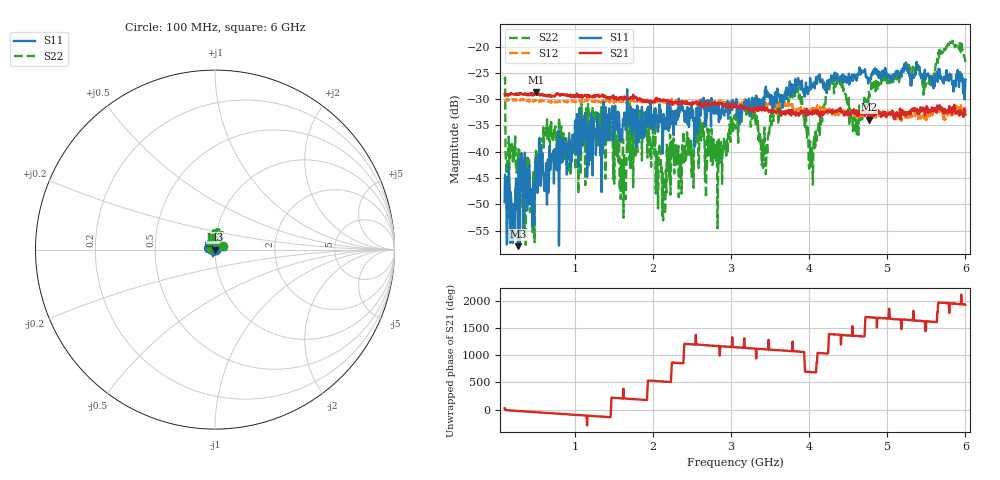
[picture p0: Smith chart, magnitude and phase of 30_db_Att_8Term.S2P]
!Created with skrf (http://scikit-rf.org).
# MHz S RI R 50.0
!freq ReS11 ImS11 ReS21 ImS21 ReS12 ImS12 ReS22 ImS22
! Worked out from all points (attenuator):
!   1001 points, 100 MHz to 6 GHz, reference 50 ohm
!   highest |S21| = -28.71 dB at 501.2 MHz (marker M1); lowest = -33.9 dB at 4.767 GHz (marker M2)
!   lowest |S11| = -58.0 dB at 271.1 MHz (marker M3), VSWR 1.00, Z = 50.1 + j0.051 ohm
!   |S11| at or under -10 dB: start of sweep to end of sweep
!   |S22| runs from -57.7 to -18.8 dB; largest |S21 - S12| = 0.024
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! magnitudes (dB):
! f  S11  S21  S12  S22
! 100 MHz  -49.6  -29.1  -30.3  -26.1
! 141.3 MHz  -52.5  -29.4  -30.1  -42.4
! 271.1 MHz  -58.0  -28.9  -30.1  -40.4
! 501.2 MHz  -41.3  -28.7  -30.3  -39.8
! 636.9 MHz  -47.2  -29.4  -30.3  -36.4
! 1.085 GHz  -33.5  -29.2  -30.5  -30.9
! 1.345 GHz  -47.6  -29.4  -30.5  -31.0
! 1.628 GHz  -33.5  -30.0  -30.3  -41.9
! 1.894 GHz  -36.3  -30.2  -30.4  -35.6
! 2.071 GHz  -35.2  -30.1  -30.3  -44.0
! 2.141 GHz  -33.8  -30.4  -30.6  -46.9
! 2.625 GHz  -30.7  -31.3  -30.5  -36.8
! 2.855 GHz  -33.9  -30.8  -30.6  -38.6
! 3.05 GHz  -31.1  -31.5  -30.8  -34.1
! 3.422 GHz  -31.7  -31.4  -30.8  -38.0
! 3.829 GHz  -27.3  -33.1  -32.2  -28.4
! 4.035 GHz  -27.4  -32.9  -31.7  -39.6
! 4.271 GHz  -26.3  -32.4  -32.4  -27.1
! 4.602 GHz  -25.3  -32.6  -32.7  -33.9
! 4.767 GHz  -26.2  -33.9  -32.9  -28.6
! 5.021 GHz  -26.1  -32.6  -32.4  -26.9
! 6 GHz  -26.2  -32.9  -32.4  -22.9
